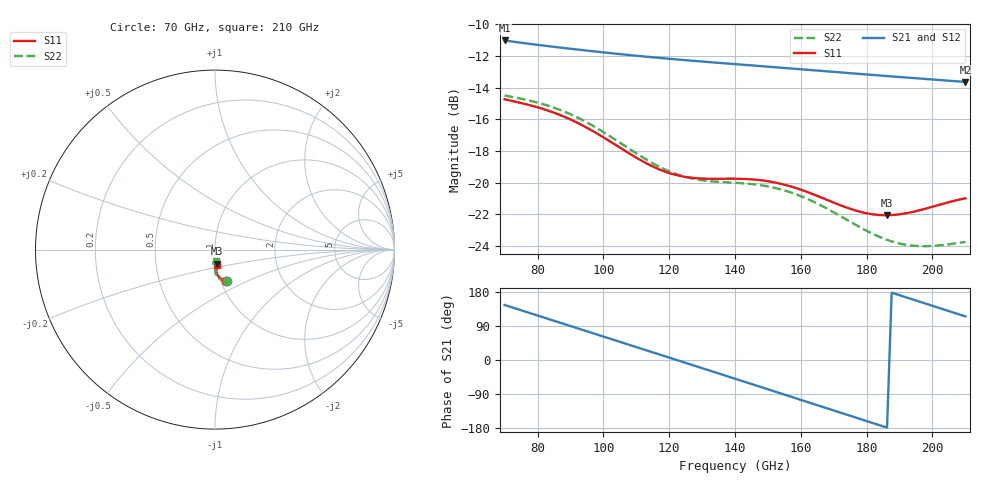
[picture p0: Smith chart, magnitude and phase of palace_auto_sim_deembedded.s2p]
! Created with skrf 1.11.0 (http://scikit-rf.org).
# GHz S DB R 50.0
!freq dBS11 angS11 dBS21 angS21 dBS12 angS12 dBS22 angS22
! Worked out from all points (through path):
!   101 points, 70 GHz to 210 GHz, reference 50 ohm
!   highest |S21| = -11.01 dB at 70 GHz (marker M1); lowest = -13.6 dB at 210 GHz (marker M2)
!   group delay of S21, straight-line fit = 7.74 ps
!   lowest |S11| = -22.1 dB at 186.2 GHz (marker M3), VSWR 1.17, Z = 50.2 - j7.93 ohm
!   |S11| at or under -10 dB: start of sweep to end of sweep
!   |S22| runs from -24.0 to -14.5 dB; largest |S21 - S12| = 1.4e-16
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70  -14.73 -70.7  -11.01 145.1  -11.01 145.1  -14.49 -69.8
77  -15.07 -73.5  -11.21 125.8  -11.21 125.8  -14.79 -72.9
82.6  -15.40 -76.4  -11.36 110.2  -11.36 110.2  -15.09 -76.3
88.2  -15.84 -79.6  -11.49 94.7  -11.49 94.7  -15.51 -79.9
93.8  -16.40 -82.6  -11.63 79.1  -11.63 79.1  -16.06 -83.4
99.4  -17.06 -85.0  -11.75 63.6  -11.75 63.6  -16.72 -86.4
106.4  -17.96 -86.6  -11.90 44.1  -11.90 44.1  -17.66 -88.9
112  -18.65 -86.4  -12.02 28.5  -12.02 28.5  -18.40 -89.5
117.6  -19.21 -85.3  -12.13 13.0  -12.13 13.0  -19.05 -89.0
123.2  -19.57 -83.6  -12.23 -2.6  -12.23 -2.6  -19.53 -87.9
128.8  -19.73 -82.3  -12.32 -18.1  -12.32 -18.1  -19.81 -86.8
140  -19.75 -82.3  -12.51 -49.4  -12.51 -49.4  -20.01 -86.8
147  -19.82 -84.1  -12.62 -68.9  -12.62 -68.9  -20.14 -88.8
152.6  -20.01 -86.0  -12.71 -84.6  -12.71 -84.6  -20.35 -91.0
158.2  -20.32 -87.8  -12.80 -100.2  -12.80 -100.2  -20.71 -93.4
163.8  -20.74 -89.0  -12.90 -115.9  -12.90 -115.9  -21.20 -95.4
175  -21.65 -88.3  -13.08 -147.2  -13.08 -147.2  -22.47 -96.9
180.6  -21.96 -86.3  -13.17 -162.8  -13.17 -162.8  -23.10 -95.7
186.2  -22.05 -83.9  -13.26 -178.4  -13.26 -178.4  -23.61 -93.3
187.6  -22.04 -83.3  -13.28 177.6  -13.28 177.6  -23.71 -92.6
197.4  -21.67 -80.7  -13.44 150.3  -13.44 150.3  -24.01 -87.3
210  -20.98 -82.4  -13.64 115.0  -13.64 115.0  -23.74 -83.4
